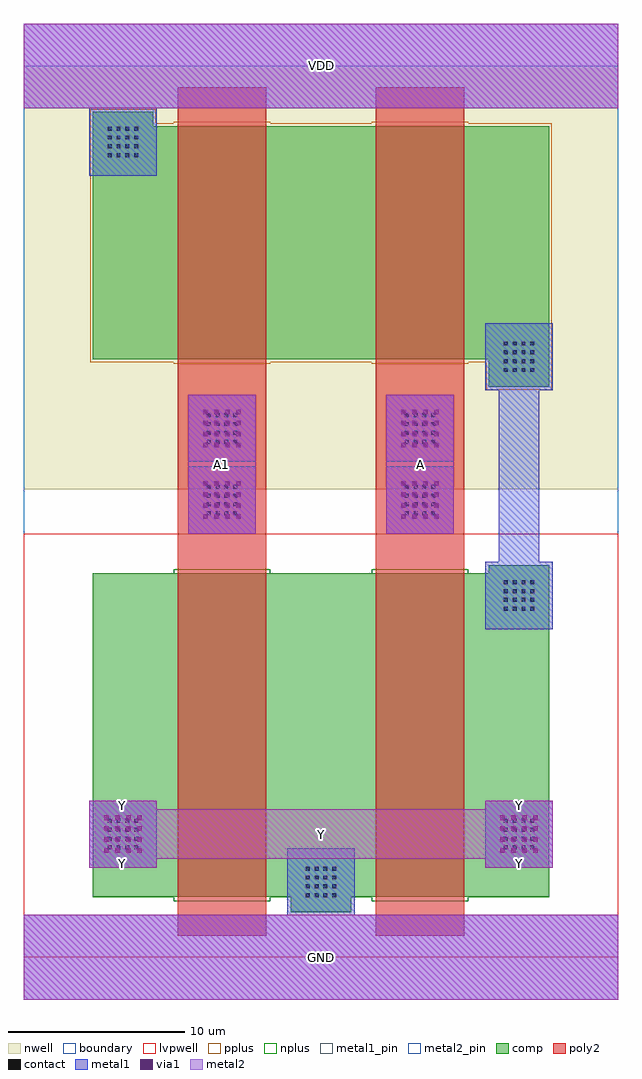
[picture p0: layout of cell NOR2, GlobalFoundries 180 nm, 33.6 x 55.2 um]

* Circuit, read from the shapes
.subckt NOR2 A A1 GND VDD Y
XM1 GND A1 Y VSUBS nfet_03v3 w=18.3u l=5u
XM2 Y A GND VSUBS nfet_03v3 w=18.3u l=5u
XM3 n1 A1 VDD n2 pfet_03v3 w=13.2u l=5u
XM4 Y A n1 n2 pfet_03v3 w=13.2u l=5u
.ends

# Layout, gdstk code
import gdstk
lib = gdstk.Library(unit=1e-6, precision=1e-09)
def R(c, l, rs):  # rectangles x0, y0, x1, y1
    for r in rs: c.add(gdstk.rectangle(r[:2], r[2:], *l))
def A(c, l, x, y, w, h, nx, ny, dx, dy):  # array of equal rectangles
    R(c, l, [(x+i*dx, y+j*dy, x+i*dx+w, y+j*dy+h) for i in range(nx) for j in range(ny)])
boundary = (0, 0)
nwell = (21, 0)
comp = (22, 0)
poly2 = (30, 0)
pplus = (31, 0)
nplus = (32, 0)
contact = (33, 0)
metal1 = (34, 0)
metal1_pin = (34, 10)
via1 = (35, 0)
metal2 = (36, 0)
metal2_pin = (36, 10)
lvpwell = (204, 0)

nor2 = lib.new_cell('NOR2')
R(nor2, boundary, [(0,0,33.6,50.4)])
R(nor2, nwell, [(0,26.45,33.6,50.4)])
R(nor2, comp, [(15.1,2.55,18.5,3.4), (3.9,3.4,29.7,21.7), (26.3,21.7,29.7,22.15), (26.3,32.25,29.7,33.8), (3.9,33.8,29.7,47), (3.9,47,7.3,47.8)])
R(nor2, poly2, [(8.7,1.2,13.7,49.2), (19.9,1.2,24.9,49.2)])
R(nor2, pplus, [(26.14,32.09,29.86,33.64), (8.47,33.57,13.93,33.64), (19.67,33.57,25.13,33.64), (3.74,33.64,29.86,47.16), (3.74,47.16,7.46,47.96), (8.47,47.16,13.93,47.23), (19.67,47.16,25.13,47.23)])
R(nor2, nplus, [(15.08,2.53,18.52,3.38), (8.47,3.17,13.93,3.38), (19.67,3.17,25.13,3.38), (3.88,3.38,29.72,21.72), (8.47,21.72,13.93,21.93), (19.67,21.72,25.13,21.93), (26.28,21.72,29.72,22.17)])
A(nor2, contact, 15.94, 3.39, 0.22, 0.22, 4, 4, 0.5, 0.5)
A(nor2, contact, 4.74, 6.09, 0.22, 0.22, 4, 4, 0.5, 0.5)
A(nor2, contact, 27.14, 6.09, 0.22, 0.22, 4, 4, 0.5, 0.5)
A(nor2, contact, 27.14, 19.59, 0.22, 0.22, 4, 4, 0.5, 0.5)
A(nor2, contact, 10.34, 24.99, 0.22, 0.22, 4, 4, 0.5, 0.5)
A(nor2, contact, 21.54, 24.99, 0.22, 0.22, 4, 4, 0.5, 0.5)
A(nor2, contact, 10.34, 29.04, 0.22, 0.22, 4, 4, 0.5, 0.5)
A(nor2, contact, 21.54, 29.04, 0.22, 0.22, 4, 4, 0.5, 0.5)
A(nor2, contact, 27.14, 33.09, 0.22, 0.22, 4, 4, 0.5, 0.5)
A(nor2, contact, 4.74, 45.24, 0.22, 0.22, 4, 4, 0.5, 0.5)
A(nor2, metal1, 26.1, 5.05, 3.8, 3.8, 1, 3, 0, 13.5)
R(nor2, metal1, [(0,-2.4,33.6,2.4), (14.9,2.4,18.7,6.15), (3.7,5.05,7.5,8.85), (26.85,22.35,29.15,32.05), (9.3,23.95,13.1,27.75), (20.5,23.95,24.3,27.75), (9.3,28,13.1,31.8), (20.5,28,24.3,31.8), (3.7,44.2,7.5,48), (0,48,33.6,52.8)])
R(nor2, metal1_pin, [(0,-2.4,33.6,2.4), (0,48,33.6,52.8)])
A(nor2, via1, 4.54, 5.89, 0.26, 0.26, 4, 4, 0.62, 0.62)
A(nor2, via1, 26.94, 5.89, 0.26, 0.26, 4, 4, 0.62, 0.62)
A(nor2, via1, 10.14, 24.79, 0.26, 0.26, 4, 4, 0.62, 0.62)
A(nor2, via1, 21.34, 24.79, 0.26, 0.26, 4, 4, 0.62, 0.62)
A(nor2, via1, 10.14, 28.84, 0.26, 0.26, 4, 4, 0.62, 0.62)
A(nor2, via1, 21.34, 28.84, 0.26, 0.26, 4, 4, 0.62, 0.62)
R(nor2, metal2, [(0,-2.4,33.6,2.4), (3.7,5.05,7.5,5.55), (26.1,5.05,29.9,5.55), (3.7,5.55,29.9,8.35), (3.7,8.35,7.5,8.85), (26.1,8.35,29.9,8.85), (9.3,23.95,13.1,31.8), (20.5,23.95,24.3,31.8), (0,48,33.6,52.8)])
R(nor2, metal2_pin, [(3.7,5.05,7.5,5.55), (26.1,5.05,29.9,5.55), (3.7,5.55,29.9,8.35), (3.7,8.35,7.5,8.85), (26.1,8.35,29.9,8.85), (9.3,23.95,13.1,31.8), (20.5,23.95,24.3,31.8)])
R(nor2, lvpwell, [(0,0,33.6,23.95)])
nor2.add(gdstk.Label('VDD', (16.8,50.4), layer=34, texttype=10))
nor2.add(gdstk.Label('GND', (16.8,0), layer=34, texttype=10))
nor2.add(gdstk.Label('Y', (5.6,5.3), layer=36, texttype=10))
nor2.add(gdstk.Label('Y', (28,5.3), layer=36, texttype=10))
nor2.add(gdstk.Label('Y', (16.8,6.95), layer=36, texttype=10))
nor2.add(gdstk.Label('Y', (5.6,8.6), layer=36, texttype=10))
nor2.add(gdstk.Label('Y', (28,8.6), layer=36, texttype=10))
nor2.add(gdstk.Label('A', (22.4,27.875), layer=36, texttype=10))
nor2.add(gdstk.Label('A1', (11.2,27.875), layer=36, texttype=10))

lib.write_gds('NOR2.gds')
